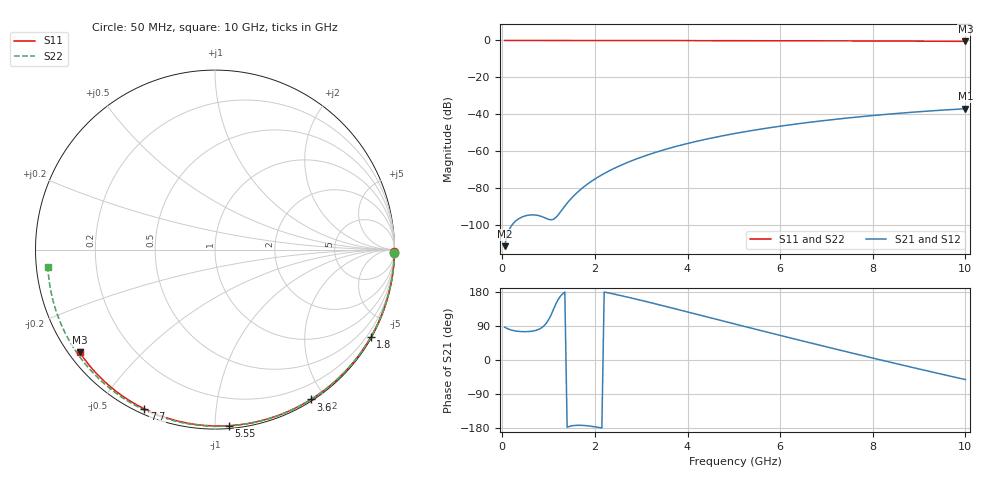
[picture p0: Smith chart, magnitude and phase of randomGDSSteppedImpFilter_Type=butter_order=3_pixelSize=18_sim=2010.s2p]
! freq	dB(S11)	phase(S11)	dB(S12)	phase(S12)
!  dB(S21)	phase(S21)	dB(S22)	phase(S22)
!S-par simulation data
#  GHz  S  DB  R 50
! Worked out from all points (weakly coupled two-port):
!   200 points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, 50 MHz to 10 GHz, reference 50 ohm
!   highest |S21| = -36.92 dB at 10 GHz (marker M1); lowest = -111.3 dB at 50 MHz (marker M2)
!   lowest |S11| = -0.5 dB at 10 GHz (marker M3), VSWR 36.41, Z = 1.53 - j16.8 ohm
!   |S11| at or under -10 dB: nowhere
!   |S22| runs from -0.6 to 0.0 dB; largest |S21 - S12| = 0
!   S11 on the Smith chart (normalised r, x): 50 MHz: open; 1.8 GHz: 0.03, -3.81; 3.6 GHz: 0.02, -1.83; 5.55 GHz: 0.02, -1.08; 7.7 GHz: 0.02, -0.65; 10 GHz: 0.03, -0.34
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0.05  -0.00 -0.8  -111.27 86.6  -111.27 86.6  -0.00 -1.0
0.45  -0.01 -7.5  -95.27 74.8  -95.27 74.8  -0.01 -9.1
0.85  -0.02 -14.0  -95.23 85.1  -95.23 85.1  -0.02 -17.1
1.25  -0.03 -20.5  -92.96 167.6  -92.96 167.6  -0.03 -25.1
1.7  -0.04 -27.8  -80.42 -172.3  -80.42 -172.3  -0.04 -33.9
1.75  -0.04 -28.6  -79.39 -172.7  -79.39 -172.7  -0.04 -34.9
1.8  -0.04 -29.4  -78.42 -173.2  -78.42 -173.2  -0.05 -35.8
2.1  -0.04 -34.2  -73.40 -178.4  -73.40 -178.4  -0.05 -41.6
2.3  -0.05 -37.3  -70.64 176.9  -70.64 176.9  -0.06 -45.4
2.5  -0.05 -40.5  -68.20 171.7  -68.20 171.7  -0.06 -49.2
2.9  -0.06 -46.7  -64.05 160.3  -64.05 160.3  -0.07 -56.7
3.4  -0.07 -54.3  -59.83 145.3  -59.83 145.3  -0.09 -65.9
3.6  -0.08 -57.4  -58.36 139.2  -58.36 139.2  -0.09 -69.5
4.3  -0.10 -67.7  -53.96 117.5  -53.96 117.5  -0.12 -81.8
5.05  -0.12 -78.5  -50.19 94.2  -50.19 94.2  -0.15 -94.6
5.55  -0.14 -85.4  -48.07 78.7  -48.07 78.7  -0.17 -102.9
6.1  -0.16 -92.9  -46.02 61.9  -46.02 61.9  -0.20 -111.9
6.7  -0.19 -100.9  -44.07 43.7  -44.07 43.7  -0.24 -121.5
7.7  -0.26 -113.9  -41.32 13.9  -41.32 13.9  -0.31 -137.3
8.35  -0.31 -122.1  -39.83 -5.1  -39.83 -5.1  -0.38 -147.5
9.2  -0.39 -132.8  -38.19 -29.4  -38.19 -29.4  -0.47 -161.1
10  -0.48 -142.8  -36.92 -51.7  -36.92 -51.7  -0.57 -174.2
